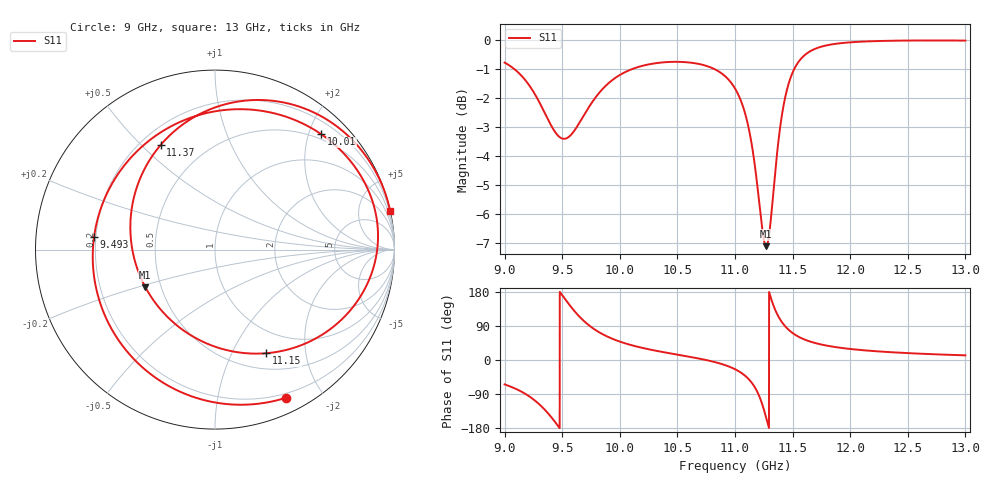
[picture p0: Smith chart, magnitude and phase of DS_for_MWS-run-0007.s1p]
! TOUCHSTONE file generated by CST DESIGN STUDIO
! Date and time: Tue Feb  4 13:35:32 2025
! Project name: C:\Work\MatlabApps\UnitCellOptimizationMatlab\CST\unitcell.cst
! Tree item: Tasks\Sweep1\SPara1\S-Parameters
! Header version: 2024
! Port assignment regex: !\s*Touchstone port\s*([0-9]+)\s*=\s*(CST MWS port|CST DES external port|CST DES block port)\s*(.+)\s* \(\"(.*)\"\)(\s*mode\s*([0-9]+))?.*
! Touchstone port assignment:
! Touchstone port 1 = CST DES external port 1 ("")
# GHz S MA R 50
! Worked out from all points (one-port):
!   4001 points, 9 GHz to 13 GHz, reference 50 ohm
!   lowest |S11| = -7.1 dB at 11.27 GHz (marker M1), VSWR 2.58, Z = 20.4 - j10.6 ohm
!   |S11| at or under -10 dB: nowhere
!   S11 on the Smith chart (normalised r, x): 9 GHz: 0.15, -1.58; 9.493 GHz: 0.19, +0.05; 10.01 GHz: 0.41, +2.22; 11.15 GHz: 0.69, -1.37; 11.37 GHz: 0.28, +0.57; 13 GHz: 0.04, +9.30
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9  0.9153 -64.4
9.162  0.8618 -86.2
9.275  0.7994 -110.0
9.401  0.7145 -149.3
9.493  0.6775 173.9
9.5  0.6766 171.0
9.605  0.698 129.5
9.704  0.7511 98.7
9.848  0.823 68.5
10  0.8712 48.6
10.012  0.874 47.3
10.223  0.9063 30.1
10.5  0.9181 14.1
10.81  0.8941 -4.3
11  0.8258 -24.3
11.084  0.752 -40.6
11.154  0.6446 -63.6
11.215  0.5142 -98.7
11.27  0.4409 -151.7
11.318  0.5068 157.5
11.372  0.6565 117.5
11.428  0.7838 91.7
11.5  0.8797 71.1
11.583  0.934 56.7
11.686  0.965 45.6
12  0.9921 29.1
12.5  0.9992 18.2
13  0.999 12.3
